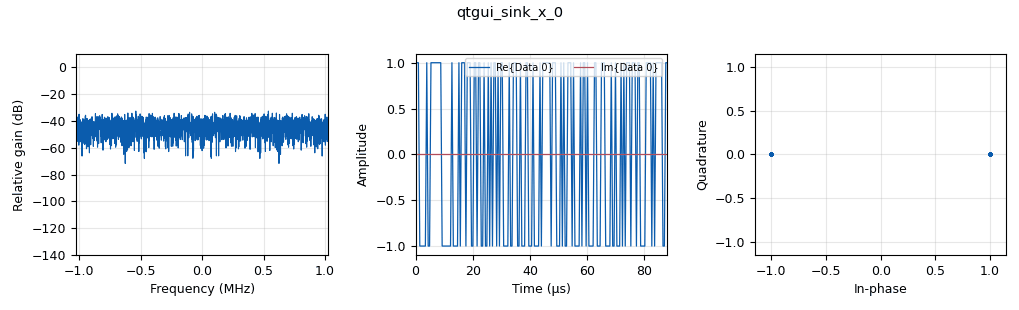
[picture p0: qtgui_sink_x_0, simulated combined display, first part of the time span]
options:
  parameters:
    author: syml
    generate_options: qt_gui
    id: bpsk_tx_demo
    output_language: python
    title: BPSK_TX
  states: {}

blocks:
- name: bpsk
  id: variable_constellation
  parameters:
    precision: '8'
    type: bpsk
  states: {}
- name: rx_gain
  id: variable_qtgui_range
  parameters:
    label: RX Gain
    start: '0'
    step: '0.01'
    stop: '1'
    value: '0.7'
  states: {}
- name: samp_rate
  id: variable
  parameters:
    value: 2.046e6
  states: {}
- name: tx_gain
  id: variable_qtgui_range
  parameters:
    label: TX Gain
    start: '0'
    step: '0.01'
    stop: '1'
    value: '0'
  states: {}
- name: blocks_add_const_vxx_0
  id: blocks_add_const_vxx
  parameters:
    const: ord("0")
    type: byte
  states: {state: disabled}
- name: blocks_file_sink_0
  id: blocks_file_sink
  parameters:
    file: /home/syml/Temp/1.txt
    type: byte
  states: {state: disabled}
- name: blocks_file_sink_1
  id: blocks_file_sink
  parameters:
    file: /home/syml/Temp/1.bin
    type: complex
  states: {state: disabled}
- name: blocks_keep_one_in_n_0
  id: blocks_keep_one_in_n
  parameters:
    n: '2'
    type: byte
  states: {state: disabled}
- name: blocks_repack_bits_bb_0
  id: blocks_repack_bits_bb
  parameters:
    endianness: gr.GR_LSB_FIRST
    k: '4'
    l: '1'
  states: {}
- name: blocks_repack_bits_bb_0_0
  id: blocks_repack_bits_bb
  parameters:
    endianness: gr.GR_LSB_FIRST
    k: '3'
    l: '1'
  states: {}
- name: blocks_repack_bits_bb_1
  id: blocks_repack_bits_bb
  parameters:
    endianness: gr.GR_LSB_FIRST
    k: '1'
    l: '3'
  states: {state: disabled}
- name: blocks_repeat_0
  id: blocks_repeat
  parameters:
    interp: int(samp_rate) // 20
    type: byte
  states: {}
- name: blocks_repeat_0_0
  id: blocks_repeat
  parameters:
    interp: int(samp_rate) // 1000
    type: byte
  states: {}
- name: blocks_repeat_0_0_0
  id: blocks_repeat
  parameters:
    interp: int(samp_rate) // 2046000
    type: byte
  states: {}
- name: blocks_throttle_0
  id: blocks_throttle
  parameters:
    samples_per_second: samp_rate
    type: complex
  states: {state: disabled}
- name: blocks_vector_source_x_0
  id: blocks_vector_source_x
  parameters:
    repeat: 'True'
    type: byte
    vector: (0,0,0,0,0,1,0,0,1,1,0,1,0,1,0,0,1,1,1,0)
  states: {}
- name: blocks_vector_source_x_1
  id: blocks_vector_source_x
  parameters:
    comment: sat 12
    repeat: 'True'
    type: byte
    vector: vecsrc.hex2vec("e24046d288d22ff9eff7fa4000154400196d5f9c6afb5faa0c590050400fb2a839a66b0c80e24086da8c927fecc1571300cf23a8884be27c0b987e111109c81550f75881e81869a12b0e240c6e6ddc63eba4ed914eabe21ffaa8a4c5501401d2dba486774f52d17cada063e1e4c0e24106ca88837ebecdcd8e5ff55ffdf8fd619e2810091aaecac8440521a183284e2d41a0a86e24146f688837ebecdcd8e5ff55ffdf8fd619e2810091aaecac8440521a183284e2d41a0a86")
  states: {}
- name: blocks_vector_source_x_2
  id: blocks_vector_source_x
  parameters:
    comment: PRN Ranging Code
    repeat: 'True'
    type: byte
    vector: vecsrc.oct2vec("5213471400404141736516057633225520134275254702644476261074240644151313340717534550532764115160604225020427142461110633074464355260310412267205726342273736262411464071262316224327702415731722201115250705775202325753766033020654202631242656322174277703062423223241670355427731777374331317557643136632543655170157115714042222055105445655171446511065522751761056273326706416330362765161440200242363151137706343257000565164411153672123171312421172077751070027066240066401645145364103277520075545107054551340712657477167600477631241133542633453657204072346315743476652401714206031235031157617433355437000066010135371551046455655462040762717656237063742057616335170470365453645247412464772")
  states: {}
- name: blocks_vector_source_x_3
  id: blocks_vector_source_x
  parameters:
    repeat: 'True'
    type: byte
    vector: (0, )
  states: {state: disabled}
- name: blocks_xor_xx_1
  id: blocks_xor_xx
  parameters:
    num_inputs: '3'
    type: byte
  states: {}
- name: digital_constellation_decoder_cb_0
  id: digital_constellation_decoder_cb
  parameters:
    constellation: bpsk
  states: {state: disabled}
- name: digital_constellation_encoder_bc_0
  id: digital_constellation_encoder_bc
  parameters:
    constellation: bpsk
  states: {}
- name: digital_costas_loop_cc_0
  id: digital_costas_loop_cc
  parameters:
    order: '2'
    w: '0.628'
  states: {state: disabled}
- name: qtgui_sink_x_0
  id: qtgui_sink_x
  parameters:
    bw: samp_rate
    fc: '0'
    fftsize: '4096'
    type: complex
  states: {}
- name: qtgui_sink_x_0_0
  id: qtgui_sink_x
  parameters:
    bw: samp_rate
    fc: '0'
    fftsize: '4096'
    type: complex
  states: {state: disabled}
- name: uhd_usrp_sink_0
  id: uhd_usrp_sink
  parameters:
    ant0: '"TX/RX"'
    center_freq0: 1561.098e6
    clock_source0: internal
    dev_args: type=soapy
    gain0: tx_gain
    gain_type0: normalized
    samp_rate: samp_rate
    sync: none
    type: fc32
  states: {}
- name: uhd_usrp_source_0
  id: uhd_usrp_source
  parameters:
    ant0: '"TX/RX"'
    center_freq0: 1561.098e6
    dev_args: type=b200
    gain0: rx_gain
    gain_type0: normalized
    rx_agc0: Disabled
    samp_rate: samp_rate
    sync: pc_clock
    type: fc32
  states: {state: disabled}
- name: vecsrc
  id: epy_module
  parameters:
    source_code: |
      # this module will be imported in the into your flowgraph
      import numpy as np


      def hex2vec(data: str):
          v = []
          for i in data:
              v.append(int(i, 16))
          return v

      def oct2vec(data: str):
          v = []
          for i in data:
              v.append(int(i, 8))
          return v
  states: {}

connections:
- [blocks_add_const_vxx_0, '0', blocks_file_sink_0, '0']
- [blocks_keep_one_in_n_0, '0', blocks_repack_bits_bb_1, '0']
- [blocks_repack_bits_bb_0, '0', blocks_repeat_0, '0']
- [blocks_repack_bits_bb_0_0, '0', blocks_repeat_0_0_0, '0']
- [blocks_repack_bits_bb_1, '0', blocks_add_const_vxx_0, '0']
- [blocks_repeat_0, '0', blocks_xor_xx_1, '0']
- [blocks_repeat_0_0, '0', blocks_xor_xx_1, '1']
- [blocks_repeat_0_0_0, '0', blocks_xor_xx_1, '2']
- [blocks_throttle_0, '0', blocks_file_sink_1, '0']
- [blocks_vector_source_x_0, '0', blocks_repeat_0_0, '0']
- [blocks_vector_source_x_1, '0', blocks_repack_bits_bb_0, '0']
- [blocks_vector_source_x_2, '0', blocks_repack_bits_bb_0_0, '0']
- [blocks_vector_source_x_3, '0', blocks_xor_xx_1, '0']
- [blocks_vector_source_x_3, '0', blocks_xor_xx_1, '1']
- [blocks_xor_xx_1, '0', digital_constellation_encoder_bc_0, '0']
- [digital_constellation_decoder_cb_0, '0', blocks_keep_one_in_n_0, '0']
- [digital_constellation_encoder_bc_0, '0', blocks_throttle_0, '0']
- [digital_constellation_encoder_bc_0, '0', qtgui_sink_x_0, '0']
- [digital_constellation_encoder_bc_0, '0', uhd_usrp_sink_0, '0']
- [digital_costas_loop_cc_0, '0', digital_constellation_decoder_cb_0, '0']
- [digital_costas_loop_cc_0, '0', qtgui_sink_x_0_0, '0']
- [uhd_usrp_source_0, '0', digital_costas_loop_cc_0, '0']

metadata:
  file_format: 1
  grc_version: 3.10.5.0
